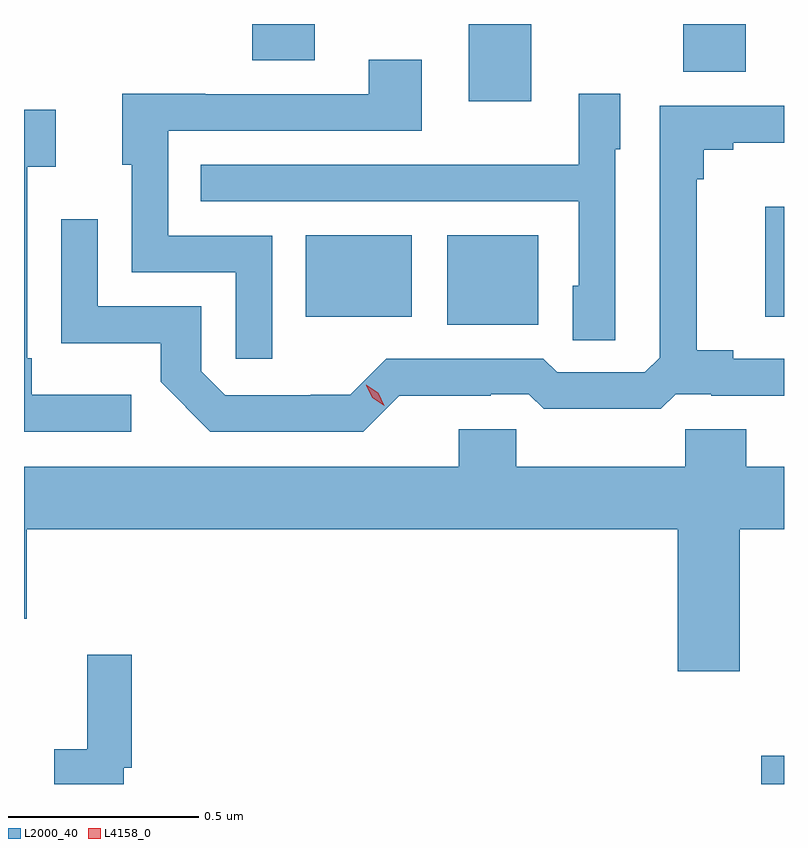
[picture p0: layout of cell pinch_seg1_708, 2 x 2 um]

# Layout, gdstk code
import gdstk
lib = gdstk.Library(unit=1e-6, precision=1e-09)
def R(c, l, rs):  # rectangles x0, y0, x1, y1
    for r in rs: c.add(gdstk.rectangle(r[:2], r[2:], *l))
def P(c, l, *ps):  # polygons
    for p in ps: c.add(gdstk.Polygon(p, *l))
L2000_40 = (2000, 40)
L4158_0 = (4158, 0)

pinch_seg1_708 = lib.new_cell('pinch_seg1_708')
R(pinch_seg1_708, L2000_40, [(752.64,561.717,752.7,561.791), (751.814,562.925,752.053,563.161), (751.442,562.946,751.72,563.161), (752.651,562.946,752.7,563.236), (751.871,563.514,752.035,563.717), (752.435,563.592,752.599,563.717), (751.301,563.621,751.465,563.717)])
P(pinch_seg1_708, L2000_40, [(751.353,563.16),(751.08,563.16),(751.08,563.436),(751.747,563.436),(751.747,563.623),(751.607,563.623),(751.607,563.532),(751.177,563.532),(751.177,563.534),(750.959,563.534),(750.959,563.346),(750.984,563.346),(750.984,563.064),(751.257,563.064),(751.257,562.836),(751.353,562.836)],
  [(752.256,563.388),(752.269,563.388),(752.269,563.533),(752.16,563.533),(752.16,563.347),(751.843,563.347),(751.843,563.346),(751.165,563.346),(751.165,563.25),(752.16,563.25),(752.16,563.028),(752.144,563.028),(752.144,562.885),(752.256,562.885)],
  [(751.688,562.739),(751.928,562.739),(751.928,562.743),(752.028,562.743),(752.068,562.704),(752.375,562.704),(752.415,562.743),(752.509,562.743),(752.509,562.739),(752.7,562.739),(752.7,562.836),(752.566,562.836),(752.566,562.859),(752.471,562.859),(752.471,563.309),(752.489,563.309),(752.489,563.386),(752.566,563.386),(752.566,563.405),(752.7,563.405),(752.7,563.502),(752.373,563.502),(752.373,562.839),(752.334,562.8),(752.103,562.8),(752.067,562.836),(751.653,562.836),(751.559,562.742),(751.454,562.742),(751.454,562.74),(751.23,562.74),(751.167,562.803),(751.167,562.974),(750.894,562.974),(750.894,563.203),(750.798,563.203),(750.798,562.877),(751.06,562.877),(751.06,562.775),(751.19,562.644),(751.593,562.644)],
  [(750.982,562.741),(750.721,562.741),(750.721,562.837),(750.708,562.837),(750.708,563.342),(750.784,563.342),(750.784,563.491),(750.7,563.491),(750.7,562.644),(750.982,562.644)],
  [(752.584,562.388),(752.7,562.388),(752.7,562.552),(752.6,562.552),(752.6,562.65),(752.44,562.65),(752.44,562.552),(751.995,562.552),(751.995,562.65),(751.844,562.65),(751.844,562.552),(750.7,562.552),(750.7,562.152),(750.707,562.152),(750.707,562.388),(752.42,562.388),(752.42,562.014),(752.584,562.014)],
  [(750.963,561.76),(750.983,561.76),(750.983,562.057),(750.866,562.057),(750.866,561.809),(750.78,561.809),(750.78,561.717),(750.963,561.717)])
P(pinch_seg1_708, L4158_0, [(751.648,562.712),(751.617,562.734),(751.601,562.767),(751.601,562.768),(751.601,562.768),(751.632,562.746),(751.648,562.713),(751.648,562.712)])

lib.write_gds('pinch_seg1_708.gds')
